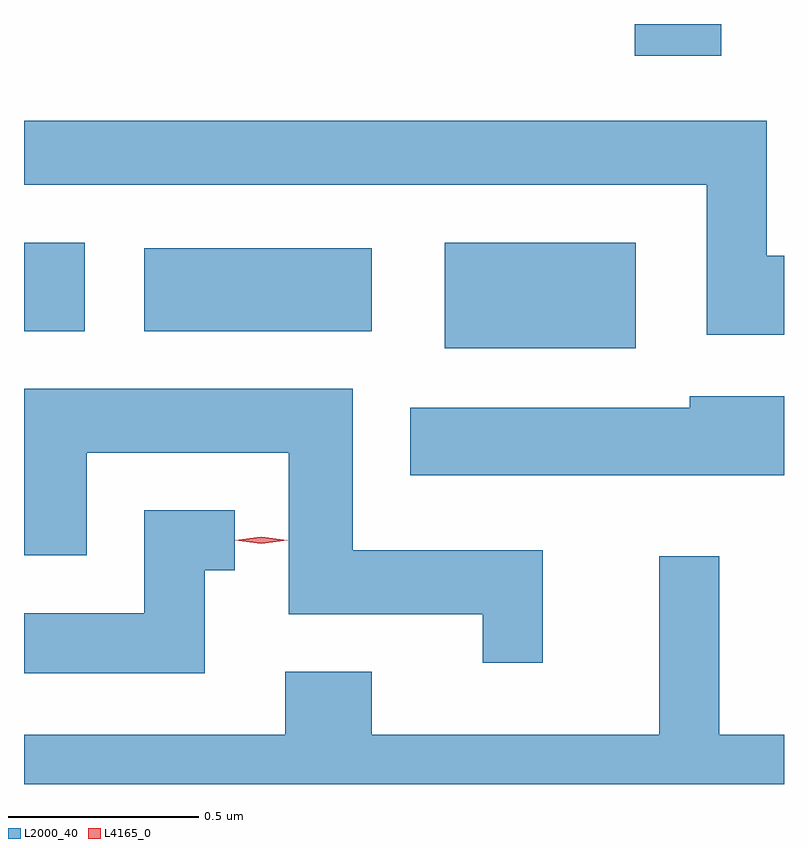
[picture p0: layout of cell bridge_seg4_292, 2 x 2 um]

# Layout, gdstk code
import gdstk
lib = gdstk.Library(unit=1e-6, precision=1e-09)
def R(c, l, rs):  # rectangles x0, y0, x1, y1
    for r in rs: c.add(gdstk.rectangle(r[:2], r[2:], *l))
def P(c, l, *ps):  # polygons
    for p in ps: c.add(gdstk.Polygon(p, *l))
L2000_40 = (2000, 40)
L4165_0 = (4165, 0)

bridge_seg4_292 = lib.new_cell('bridge_seg4_292')
R(bridge_seg4_292, L2000_40, [(532.081,1262.721,532.584,1262.999), (530.974,1262.766,531.134,1262.999), (531.291,1262.766,531.889,1262.984), (532.581,1263.491,532.809,1263.574)])
P(bridge_seg4_292, L2000_40, [(532.974,1262.964),(532.929,1262.964),(532.929,1263.319),(530.974,1263.319),(530.974,1263.151),(532.771,1263.151),(532.771,1262.756),(532.974,1262.756)],
  [(532.339,1262.189),(531.839,1262.189),(531.839,1262.614),(530.974,1262.614),(530.974,1262.176),(531.139,1262.176),(531.139,1262.446),(531.671,1262.446),(531.671,1262.021),(532.181,1262.021),(532.181,1261.893),(532.339,1261.893)],
  [(532.974,1262.594),(532.726,1262.594),(532.726,1262.564),(531.991,1262.564),(531.991,1262.386),(532.974,1262.386)],
  [(531.449,1262.136),(531.528,1262.136),(531.528,1262.294),(531.291,1262.294),(531.291,1262.024),(530.974,1262.024),(530.974,1261.866),(531.449,1261.866)],
  [(532.974,1261.704),(532.804,1261.704),(532.804,1262.173),(532.646,1262.173),(532.646,1261.704),(531.889,1261.704),(531.889,1261.869),(531.661,1261.869),(531.661,1261.704),(530.974,1261.704),(530.974,1261.574),(532.974,1261.574)])
P(bridge_seg4_292, L4165_0, [(531.598,1262.206),(531.529,1262.215),(531.529,1262.215),(531.529,1262.216),(531.598,1262.225),(531.668,1262.216),(531.668,1262.216),(531.668,1262.215)])

lib.write_gds('bridge_seg4_292.gds')
